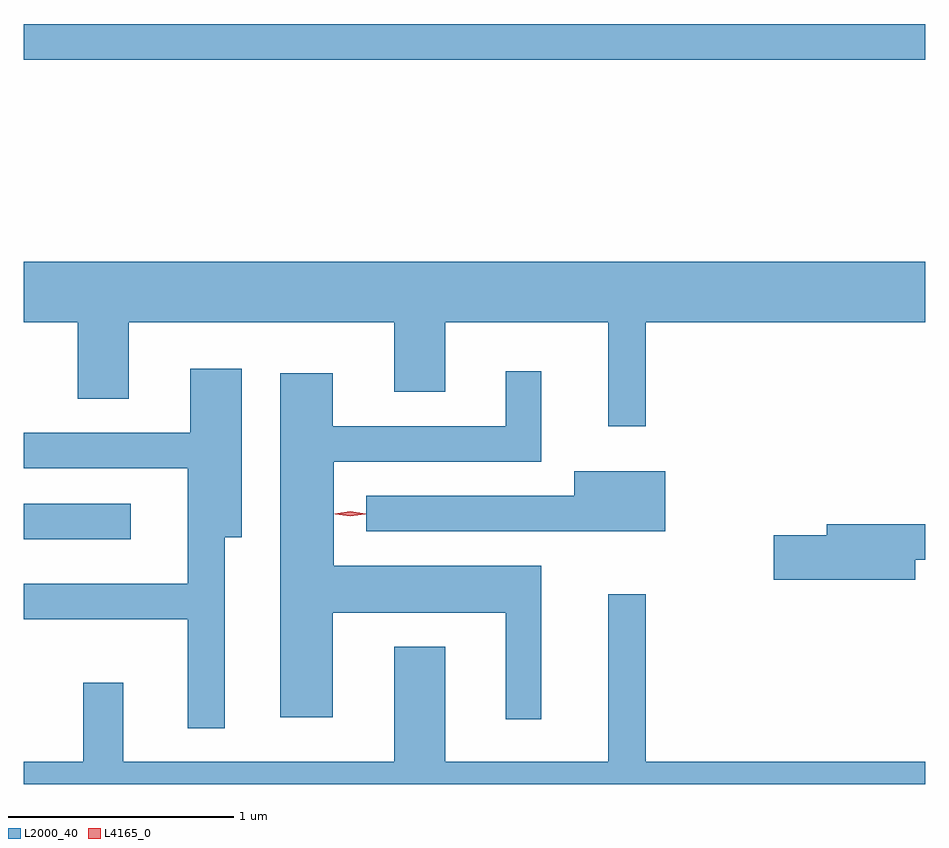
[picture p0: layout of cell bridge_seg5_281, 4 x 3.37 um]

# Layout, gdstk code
import gdstk
lib = gdstk.Library(unit=1e-6, precision=1e-09)
def R(c, l, rs):  # rectangles x0, y0, x1, y1
    for r in rs: c.add(gdstk.rectangle(r[:2], r[2:], *l))
def P(c, l, *ps):  # polygons
    for p in ps: c.add(gdstk.Polygon(p, *l))
L2000_40 = (2000, 40)
L4165_0 = (4165, 0)

bridge_seg5_281 = lib.new_cell('bridge_seg5_281')
R(bridge_seg5_281, L2000_40, [(660.378,1462.491,660.853,1462.649), (660.378,1464.621,664.378,1464.779)])
P(bridge_seg5_281, L2000_40, [(663.139,1463.456),(664.378,1463.456),(664.378,1463.724),(660.378,1463.724),(660.378,1463.456),(660.616,1463.456),(660.616,1463.116),(660.844,1463.116),(660.844,1463.456),(662.021,1463.456),(662.021,1463.146),(662.249,1463.146),(662.249,1463.456),(662.971,1463.456),(662.971,1462.993),(663.139,1462.993)],
  [(661.269,1462.501),(661.344,1462.501),(661.344,1463.249),(661.116,1463.249),(661.116,1462.964),(660.378,1462.964),(660.378,1462.806),(661.106,1462.806),(661.106,1462.294),(660.378,1462.294),(660.378,1462.136),(661.106,1462.136),(661.106,1461.653),(661.269,1461.653)],
  [(662.674,1462.374),(661.754,1462.374),(661.754,1462.836),(662.674,1462.836),(662.674,1463.238),(662.516,1463.238),(662.516,1462.994),(661.749,1462.994),(661.749,1463.229),(661.516,1463.229),(661.516,1461.701),(661.749,1461.701),(661.749,1462.166),(662.516,1462.166),(662.516,1461.693),(662.674,1461.693)],
  [(663.224,1462.794),(662.821,1462.794),(662.821,1462.684),(661.898,1462.684),(661.898,1462.526),(663.224,1462.526)],
  [(664.334,1462.401),(664.378,1462.401),(664.378,1462.559),(663.941,1462.559),(663.941,1462.509),(663.706,1462.509),(663.706,1462.311),(664.334,1462.311)],
  [(664.378,1461.504),(663.139,1461.504),(663.139,1462.248),(662.971,1462.248),(662.971,1461.504),(662.249,1461.504),(662.249,1462.014),(662.021,1462.014),(662.021,1461.504),(660.819,1461.504),(660.819,1461.854),(660.641,1461.854),(660.641,1461.504),(660.378,1461.504),(660.378,1461.405),(664.378,1461.405)])
P(bridge_seg5_281, L4165_0, [(661.827,1462.595),(661.758,1462.604),(661.757,1462.605),(661.758,1462.605),(661.827,1462.615),(661.896,1462.605),(661.896,1462.605),(661.896,1462.604)],
  [(661.826,1462.593),(661.76,1462.603),(661.76,1462.603),(661.76,1462.604),(661.826,1462.613),(661.892,1462.604),(661.893,1462.603),(661.892,1462.603)])

lib.write_gds('bridge_seg5_281.gds')
